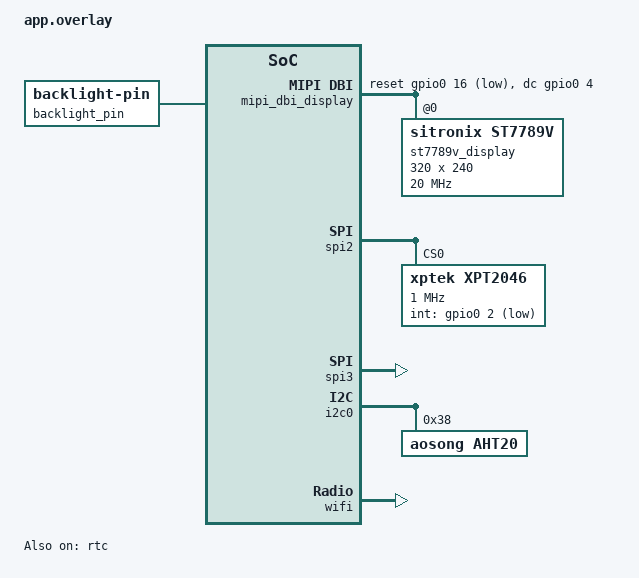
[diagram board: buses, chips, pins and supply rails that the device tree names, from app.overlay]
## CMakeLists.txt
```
# SPDX-License-Identifier: Apache-2.0

cmake_minimum_required(VERSION 3.20.0)

find_package(Zephyr REQUIRED HINTS $ENV{ZEPHYR_BASE})
project(iamforecast)

set(CMAKE_EXPORT_COMPILE_COMMANDS ON)

target_sources(app PRIVATE src/main.c)

include_directories(${CMAKE_CURRENT_SOURCE_DIR}/src)

add_subdirectory(${CMAKE_CURRENT_SOURCE_DIR}/src/forecast)
add_subdirectory(${CMAKE_CURRENT_SOURCE_DIR}/src/display)

target_link_libraries(app PRIVATE
    forecast
    widgets
)

include(${ZEPHYR_BASE}/samples/net/common/common.cmake)
```

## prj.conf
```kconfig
CONFIG_REQUIRES_FULL_LIBC=y
CONFIG_POSIX_API=y
CONFIG_ENTROPY_GENERATOR=y

CONFIG_LOG=y

CONFIG_MAIN_STACK_SIZE=4096
CONFIG_INIT_STACKS=y

CONFIG_TEST_RANDOM_GENERATOR=y
CONFIG_NETWORKING=y

CONFIG_NET_CONFIG_SETTINGS=y
CONFIG_NET_TX_STACK_SIZE=2048
CONFIG_NET_RX_STACK_SIZE=2048
CONFIG_NET_PKT_RX_COUNT=10
CONFIG_NET_PKT_TX_COUNT=10
CONFIG_NET_BUF_RX_COUNT=20
CONFIG_NET_BUF_TX_COUNT=20
CONFIG_NET_MAX_CONTEXTS=10
CONFIG_NET_DHCPV4=y
CONFIG_NET_IPV4=y
CONFIG_NET_IPV6=n
CONFIG_NET_TCP=y
CONFIG_NET_SOCKETS=y
CONFIG_NET_LOG=y
CONFIG_NET_STATISTICS=y
CONFIG_NET_STATISTICS_PERIODIC_OUTPUT=n
CONFIG_NET_L2_ETHERNET=y

CONFIG_DNS_RESOLVER=y
CONFIG_DNS_RESOLVER_AI_MAX_ENTRIES=10

CONFIG_WIFI=y
CONFIG_WIFI_LOG_LEVEL_ERR=y
CONFIG_NET_L2_WIFI_MGMT=y

CONFIG_ESP32_WIFI_STA_AUTO_DHCPV4=y

CONFIG_HTTP_CLIENT=y

CONFIG_GPIO=y
CONFIG_SPI=y
CONFIG_MIPI_DBI=y
CONFIG_MIPI_DBI_SPI=y
CONFIG_ESP32_SPIM=y
CONFIG_DISPLAY=y
CONFIG_INPUT=y
CONFIG_SENSOR=y

CONFIG_FPU=y

CONFIG_LVGL=y
CONFIG_LV_MEM_CUSTOM=y
CONFIG_LV_USE_LOG=y
CONFIG_LV_USE_LABEL=y
CONFIG_LV_USE_BTN=y
CONFIG_LV_USE_IMG=y
CONFIG_LV_FONT_MONTSERRAT_12=y
CONFIG_LV_FONT_MONTSERRAT_14=y
CONFIG_LV_FONT_MONTSERRAT_18=y
CONFIG_LV_FONT_MONTSERRAT_20=y
CONFIG_LV_FONT_MONTSERRAT_28=y
CONFIG_LV_FONT_DEFAULT_MONTSERRAT_14=y
CONFIG_LV_COLOR_DEPTH_16=y
CONFIG_LV_Z_MEM_POOL_SIZE=16384

CONFIG_REQUIRES_FULL_LIBC=y
CONFIG_REQUIRES_FLOAT_PRINTF=y
CONFIG_CBPRINTF_FP_SUPPORT=y

CONFIG_RTC=y
CONFIG_SNTP=y
```

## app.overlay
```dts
/ {
    chosen {
        zephyr,display = &st7789v_display;
    };

    lvgl_pointer {
        compatible = "zephyr,lvgl-pointer-input";
        input = <&xpt2046>;
        invert-y;
        swap-xy;
    };

    backlight_pin {
        compatible = "backlight-pin";
        backlight_pin: backlight {
            gpios = <&gpio0 17 GPIO_ACTIVE_HIGH>;
            label = "backlight";
        };
    };

    mipi_dbi_display{
        compatible = "zephyr,mipi-dbi-spi";
        spi-dev = <&spi3>;
        dc-gpios = <&gpio0 4 GPIO_ACTIVE_HIGH>;
        reset-gpios = <&gpio0 16 GPIO_ACTIVE_LOW>;
        #address-cells = <1>;
        #size-cells = <0>;

        st7789v_display: st7789v@0 {
            compatible = "sitronix,st7789v";
            mipi-max-frequency = <20000000>;
            reg = <0>;
            width = <320>;
            height = <240>;
            x-offset = <0>;
            y-offset = <0>;
            vcom = <0x2b>;
            gctrl = <0x35>;
            vrhs = <0x0f>;
            vdvs = <0x20>;
            mdac = <0x60>;
            gamma = <0x01>;
            colmod = <0x55>;
            lcm = <0x2c>;
            porch-param = [0c 0c 00 33 33];
            cmd2en-param = [5a 69 02 01];
            pwctrl1-param = [52 a1];
            pvgam-param = [D0 00 02 07 0B 1A 31 54 40 29 12 12 12 17];
            nvgam-param = [D0 00 02 07 05 15 2D 44 44 1C 18 16 1C 1D];
            ram-param = [00 F8];
            rgb-param = [CD 08 14];
            mipi-mode = <0x02>;
            inversion-off;
        };
    };

    aliases {
        backlight = &backlight_pin;
        rtc = &rtc;
    };
};

&spi2 {
    compatible = "espressif,esp32-spi";
    status = "okay";
    pinctrl-0 = <&spim2_default>;
    xpt2046: xpt2046@0 {
        compatible = "xptek,xpt2046";
        spi-max-frequency = <1000000>;
        reg = <0>;
        int-gpios = <&gpio0 2 GPIO_ACTIVE_LOW>;
        touchscreen-size-x = <240>;
        touchscreen-size-y = <320>;
        min-x = <0>;
        min-y = <0>;
        max-x = <3800>;
        max-y = <3800>;
        reads = <4>;
    };
};

&spi3 {
    compatible = "espressif,esp32-spi";
    status = "okay";
    pinctrl-0 = <&spim3_default>;
};

&i2c0 {
    aht20: aht20@38 {
        compatible = "aosong,aht20";
        reg = <0x38>;
        status = "okay";
    };
};

&wifi {
    status = "okay";
};

&rtc {
    status = "okay";
};
```

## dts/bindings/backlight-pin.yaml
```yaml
description:
  backlight pin

compatible: "backlight-pin"

child-binding:
  description: Display backlight GPIO pin.
  properties:
    gpios:
      type: phandle-array
      required: true
    label:
      type: string
      description: |
        Human readable string describing display backlight GPIO pin.
```

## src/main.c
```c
#include "forecast/user_data.h"
#include "forecast/wifi.h"
#include "forecast/forecast.h"
#include "display/widgets.h"

#include <zephyr/kernel.h>
#include <zephyr/device.h>
#include <zephyr/devicetree.h>
#include <zephyr/drivers/display.h>
#include <zephyr/drivers/gpio.h>
#include <zephyr/drivers/sensor.h>
#include <zephyr/logging/log.h>
#include <zephyr/sys/timeutil.h>
#include <zephyr/posix/time.h>

#include <lvgl.h>
#include <lvgl_input_device.h>

#include <stdio.h>
#include <string.h>

#define SCR_WIDTH 320
#define SCR_HEIGHT 240

LOG_MODULE_REGISTER(main);

LV_IMG_DECLARE(wife);

LV_FONT_DECLARE(jetbrains_12);
LV_FONT_DECLARE(jetbrains_14);
LV_FONT_DECLARE(jetbrains_18);
LV_FONT_DECLARE(jetbrains_20);
LV_FONT_DECLARE(jetbrains_28);

extern struct k_msgq forecast_data_msgq;

static unsigned char scr_pressed = 0;

static lv_obj_t *forecast_scr, *wife_scr;

static void scr_pressed_cb(lv_event_t *event);

static void scr_pressed_cb(lv_event_t *event)
{
    scr_pressed = 1;
    printf("Pressed screen!\n");
}

int main(void)
{
    LOG_INF("Booting iamforecast.");

    const struct device *display_dev = DEVICE_DT_GET(DT_CHOSEN(zephyr_display));
    if (!device_is_ready(display_dev)) {
        LOG_ERR("Display device not ready");
    }

	const struct device *const aht30 = DEVICE_DT_GET_ONE(aosong_aht20);

    if (!device_is_ready(aht30)) {
        LOG_ERR("Failed to initialise aht30 sensor.");
    }

    const struct gpio_dt_spec display_backlight = GPIO_DT_SPEC_GET(DT_ALIAS(backlight), gpios);
    gpio_pin_configure_dt(&display_backlight, GPIO_OUTPUT_ACTIVE);
    gpio_pin_set_dt(&display_backlight, true);

    lv_color_t background_color = lv_color_make(0xEA, 0x93, 0x2E);
    lv_color_t font_color = lv_color_make(0x00, 0x00, 0x00);

    wife_scr = lv_obj_create(NULL);
    lv_scr_load(wife_scr);
    lv_obj_add_event_cb(wife_scr, scr_pressed_cb, LV_EVENT_CLICKED, NULL);
    lv_obj_set_style_bg_color(lv_scr_act(), background_color, 0);

    lv_obj_t *wife_img = lv_img_create(lv_scr_act());
    lv_img_set_src(wife_img, &wife);
    lv_obj_align(wife_img, LV_ALIGN_TOP_LEFT, 0, 0);

    forecast_scr = lv_obj_create(NULL);
    lv_scr_load(forecast_scr);
    lv_obj_add_event_cb(forecast_scr, scr_pressed_cb, LV_EVENT_CLICKED, NULL);
    lv_obj_set_style_bg_color(lv_scr_act(), background_color, 0);
    lv_obj_set_style_border_width(forecast_scr, 0, 0);
    lv_obj_set_style_outline_width(forecast_scr, 0, 0);
    lv_obj_clear_flag(forecast_scr, LV_OBJ_FLAG_SCROLLABLE);

    /*--------------------*/
    /* Frame-realted vars */
    /*--------------------*/
    unsigned int data_widget_width = 62,
        data_widget_height = 62;

    unsigned int big_frame_width = SCR_WIDTH,
        big_frame_height = SCR_HEIGHT / 2,
        small_frame_width = SCR_WIDTH / 2,
        small_frame_height = big_frame_height;

    struct frame_widget outside_frame_widget = {
        .parent = lv_scr_act(),
        .font = &jetbrains_14,
        .text = "Outside",
        .bg_color = background_color,
        .font_color = font_color,
        .align = LV_ALIGN_TOP_LEFT,
        .event_cb = scr_pressed_cb,
        .event_code = LV_EVENT_PRESSED,
    };

    frame_widget_create(
        &outside_frame_widget,
        big_frame_width,
        big_frame_height,
        0,
        0
    );

    /*---------------------------------*/
    /* Outside temperature data widget */
    /*---------------------------------*/
    unsigned int outside_temp_data_widget_x_start = DEFAULT_OUTLINE * 2,
        outside_temp_data_widget_y_start = DEFAULT_OUTLINE * 3;

    struct data_widget outside_temp_data_widget = {
        .parent = outside_frame_widget.self,
        .label_font = &jetbrains_12,
        .data_font = &jetbrains_18,
        .text = "Temp",
        .bg_color = background_color,
        .font_color = font_color,
        .event_cb = scr_pressed_cb,
        .event_code = LV_EVENT_PRESSED,
    };

    data_widget_create(
        &outside_temp_data_widget,
        data_widget_width,
        data_widget_height,
        outside_temp_data_widget_x_start,
        outside_temp_data_widget_y_start
    );

    /*------------------------------*/
    /* Outside humidity data widget */
    /*------------------------------*/
    unsigned int outside_hmdty_data_widget_x_start = outside_temp_data_widget_x_start + data_widget_width + DEFAULT_OUTLINE,
        outside_hmdty_data_widget_y_start = outside_temp_data_widget_y_start;

    struct data_widget outside_hmdty_data_widget = {
        .parent = outside_frame_widget.self,
        .label_font = &jetbrains_12,
        .data_font = &jetbrains_18,
        .text = "Hmd",
        .bg_color = background_color,
        .font_color = font_color,
        .event_cb = scr_pressed_cb,
        .event_code = LV_EVENT_PRESSED,
    };

    data_widget_create(
        &outside_hmdty_data_widget,
        data_widget_width,
        data_widget_height,
        outside_hmdty_data_widget_x_start,
        outside_hmdty_data_widget_y_start
    );

    /*--------------------------------*/
    /* Outside wind speed data widget */
    /*--------------------------------*/
    unsigned int outside_winds_data_widget_x_start = outside_hmdty_data_widget_x_start + data_widget_width + DEFAULT_OUTLINE + 1,
        outside_winds_data_widget_y_start = outside_hmdty_data_widget_y_start;

    struct data_widget outside_winds_data_widget = {
        .parent = outside_frame_widget.self,
        .label_font = &jetbrains_12,
        .data_font = &jetbrains_18,
        .text = "Wind",
        .bg_color = background_color,
        .font_color = font_color,
        .event_cb = scr_pressed_cb,
        .event_code = LV_EVENT_PRESSED,
    };

    data_widget_create(
        &outside_winds_data_widget,
        data_widget_width,
        data_widget_height,
        outside_winds_data_widget_x_start,
        outside_winds_data_widget_y_start
    );

    /*---------------------------------------*/
    /* Outside ultraviolet index data widget */
    /*---------------------------------------*/
    unsigned int outside_uvi_data_widget_x_start = outside_winds_data_widget_x_start + data_widget_width + DEFAULT_OUTLINE,
        outside_uvi_data_widget_y_start = outside_winds_data_widget_y_start;

    struct data_widget outside_uvi_data_widget = {
        .parent = outside_frame_widget.self,
        .label_font = &jetbrains_12,
        .data_font = &jetbrains_18,
        .text = "Uvi",
        .bg_color = background_color,
        .font_color = font_color,
        .event_cb = scr_pressed_cb,
        .event_code = LV_EVENT_PRESSED,
    };

    data_widget_create(
        &outside_uvi_data_widget,
        data_widget_width,
        data_widget_height,
        outside_uvi_data_widget_x_start,
        outside_uvi_data_widget_y_start
    );

    /*---------------------*/
    /* Inside frame widget */
    /*---------------------*/
    struct frame_widget inside_frame_widget = {
        .parent = lv_scr_act(),
        .font = &jetbrains_14,
        .text = "Inside",
        .bg_color = background_color,
        .font_color = font_color,
        .align = LV_ALIGN_TOP_LEFT,
        .event_cb = scr_pressed_cb,
        .event_code = LV_EVENT_PRESSED,
    };

    frame_widget_create(
        &inside_frame_widget,
        small_frame_width,
        small_frame_height,
        0,
        SCR_HEIGHT / 2
    );

    /*---------------------------*/
    /* Inside temperature widget */
    /*---------------------------*/
    struct data_min_widget inside_temp_data_widget = {
        .parent = inside_frame_widget.self,
        .label_font = &jetbrains_12,
        .data_font = &jetbrains_28,
        .text = "Temp",
        .bg_color = background_color,
        .font_color = font_color,
        .event_cb = scr_pressed_cb,
        .event_code = LV_EVENT_PRESSED,
    };

    data_min_widget_create(
        &inside_temp_data_widget,
        60,
        50,
        15,
        30
    );

    lv_label_set_text(inside_temp_data_widget.data_label, "99°");

    /*------------------------*/
    /* Inside humidity widget */
    /*------------------------*/
    struct data_min_widget inside_hmdty_data_widget = {
        .parent = inside_frame_widget.self,
        .label_font = &jetbrains_12,
        .data_font = &jetbrains_28,
        .text = "Hmd",
        .bg_color = background_color,
        .font_color = font_color,
        .event_cb = scr_pressed_cb,
        .event_code = LV_EVENT_PRESSED,
    };

    data_min_widget_create(
        &inside_hmdty_data_widget,
        60,
        50,
        85,
        30
    );

    lv_label_set_text(inside_hmdty_data_widget.data_label, "50%");

    /*-------------------*/
    /* Time frame widget */
    /*-------------------*/
    struct frame_widget time_frame_widget = {
        .parent = lv_scr_act(),
        .font = &jetbrains_14,
        .text = "Time",
        .bg_color = background_color,
        .font_color = font_color,
        .align = LV_ALIGN_TOP_LEFT,
        .event_cb = scr_pressed_cb,
        .event_code = LV_EVENT_PRESSED,
    };
 
    frame_widget_create(
        &time_frame_widget,
        small_frame_width,
        small_frame_height,
        SCR_WIDTH / 2,
        SCR_HEIGHT / 2
    );

    /*----------------------*/
    /* Time and date widget */
    /*----------------------*/
    struct time_and_date_widget time_and_date_widget_instance = {
        .parent = time_frame_widget.self,
        .bg_color = background_color,
        .font_color = font_color,
        .time_font = &jetbrains_28,
        .date_font = &jetbrains_20,
        .day_of_week_font = &jetbrains_20,
        .event_cb = scr_pressed_cb,
        .event_code = LV_EVENT_PRESSED,
    };

    time_and_date_widget_create(
        &time_and_date_widget_instance,
        125,
        85,
        20,
        20
    );

    /*-------------------------------------*/
    /* The end of widgets creating section */
    /*-------------------------------------*/
 
    lv_task_handler();
    display_blanking_off(display_dev);

    int ret = wifi_connect(WIFI_USER_SSID, WIFI_USER_PSK);

    if (ret != 0) { LOG_ERR("Failed to connect to provided wifi station.");
        return -1;
    } else {
        LOG_INF("Succesfully connected to provided wifi station.");
    }

    while ((ret = forecast_sntp_sync()) != 0) {
        LOG_ERR("Failed to acquire STNP, retrying in 1 sec...");
    }

    struct timespec tspec;
    struct tm *boot_time;
    clock_gettime(CLOCK_REALTIME, &tspec);
    tspec.tv_sec += (TIMEZONE_OFFSET * 3600);
    boot_time = gmtime(&tspec.tv_sec);

    unsigned int last_sync_hour = boot_time->tm_hour;

    forecast_get(FORECAST_SERVER, FORECAST_APICALL);

    while (true) {
        static struct sensor_value temperature_inside, humidity_inside;
        static struct forecast_data_full forecast;

        bool failure_detected = false;

        struct tm *real_time;
        clock_gettime(CLOCK_REALTIME, &tspec);
        tspec.tv_sec += (TIMEZONE_OFFSET * 3600);
        real_time = gmtime(&tspec.tv_sec);

        if (real_time->tm_hour - last_sync_hour != 0) {
            LOG_INF("Current time - %d:%d:%d, updating the forecast", real_time->tm_hour, real_time->tm_min, real_time->tm_sec);
            while ((ret = forecast_sntp_sync()) != 0) {
                LOG_ERR("Failed to acquire STNP, retrying in 1 sec...");
                k_msleep(1000);
            }

            last_sync_hour = real_time->tm_hour;

            while ((ret = forecast_get(FORECAST_SERVER, FORECAST_APICALL)) < 0) {
                LOG_ERR("Failed to get forecast, retrying in 1 sec...");
                k_msleep(1000);
            }
        }

        ret = sensor_sample_fetch(aht30);
        if (ret != 0) {
           LOG_ERR("Failed to fetch sensor: %d", ret);
           failure_detected = true;
        }

        ret = sensor_channel_get(aht30, SENSOR_CHAN_AMBIENT_TEMP, &temperature_inside);
        if (ret != 0) {
           LOG_ERR("Failed to get temperature data: %d", ret);
           failure_detected = true;
        }

        ret = sensor_channel_get(aht30, SENSOR_CHAN_HUMIDITY, &humidity_inside);
        if (ret != 0) {
           LOG_ERR("Failed to get humidity data: %d", ret);
           failure_detected = true;
        }

        ret = k_msgq_peek(&forecast_data_msgq, &forecast);
        if (ret != 0) {
            LOG_ERR("Failed to get forecast data from the queue: %d", ret);
            last_sync_hour = real_time->tm_hour - 1;
        }

        struct widget_data widget_data_buf;
        widget_data_buf.current = forecast.temperature.current;
        widget_data_buf.max = forecast.temperature.max;
        widget_data_buf.min = forecast.temperature.min;
        data_widget_update(&outside_temp_data_widget, widget_data_buf, true);

        widget_data_buf.current = forecast.humidity.current;
        widget_data_buf.max = forecast.humidity.max;
        widget_data_buf.min = forecast.humidity.min;
        data_widget_update(&outside_hmdty_data_widget, widget_data_buf, false);

        widget_data_buf.current = forecast.wind_speed.current;
        widget_data_buf.max = forecast.wind_speed.max;
        widget_data_buf.min = forecast.wind_speed.min;
        data_widget_update(&outside_winds_data_widget, widget_data_buf, true);

        widget_data_buf.current = forecast.uvi.current;
        widget_data_buf.max = forecast.uvi.max;
        widget_data_buf.min = forecast.uvi.min;
        data_widget_update(&outside_uvi_data_widget, widget_data_buf, true);

        data_min_widget_update(&inside_temp_data_widget, sensor_value_to_double(&temperature_inside));
        data_min_widget_update(&inside_hmdty_data_widget, sensor_value_to_double(&humidity_inside));

        time_and_date_widget_update(&time_and_date_widget_instance, real_time);
        
        if (scr_pressed == 1) {
            scr_pressed = 0;
            if (lv_scr_act() == forecast_scr) {
                lv_scr_load(wife_scr);
            } else {
                lv_scr_load(forecast_scr);
            }
        }            

        lv_task_handler();

        k_msleep(100);
    }

    LOG_INF("Aborting from main.");

    return 0;
}
```
